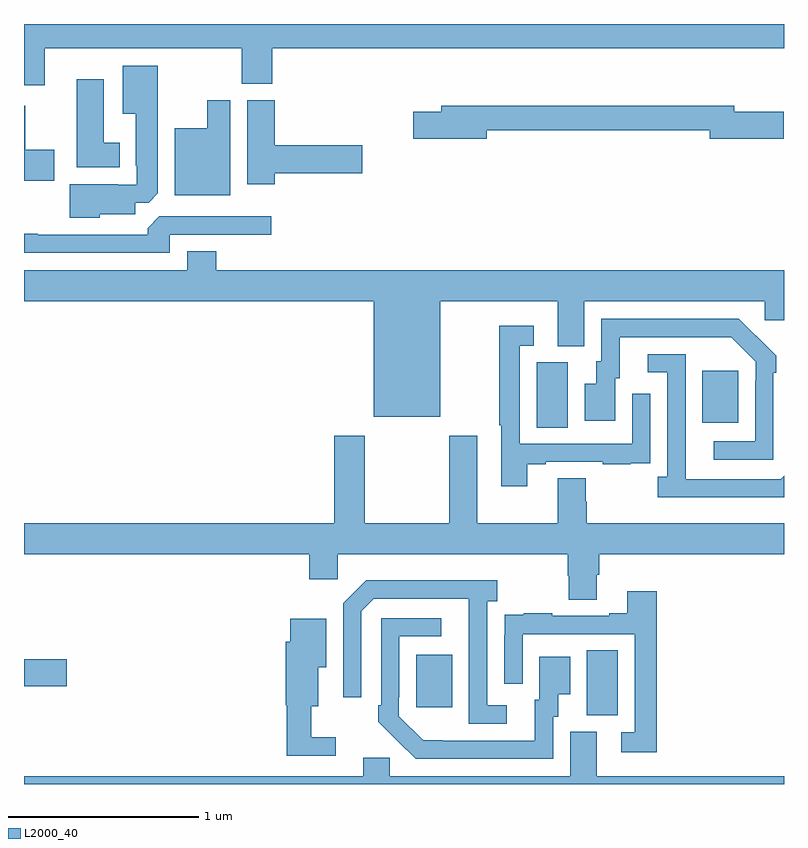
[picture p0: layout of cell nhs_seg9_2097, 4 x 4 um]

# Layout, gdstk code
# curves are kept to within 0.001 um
import gdstk
lib = gdstk.Library(unit=1e-6, precision=1e-09)
def R(c, l, rs):  # rectangles x0, y0, x1, y1
    for r in rs: c.add(gdstk.rectangle(r[:2], r[2:], *l))
def P(c, l, *ps):  # polygons
    for p in ps: c.add(gdstk.Polygon(p, *l))
L2000_40 = (2000, 40)

nhs_seg9_2097 = lib.new_cell('nhs_seg9_2097')
R(nhs_seg9_2097, L2000_40, [(231.962,1240.861,232.126,1241.204), (231.065,1240.905,231.253,1241.179), (229,1241.014,229.225,1241.156), (231.698,1242.376,231.862,1242.72), (232.571,1242.401,232.759,1242.676)])
P(nhs_seg9_2097, L2000_40, [(229.108,1244.372),(230.146,1244.372),(230.146,1244.185),(230.306,1244.185),(230.306,1244.372),(233,1244.372),(233,1244.5),(229,1244.5),(229,1244.178),(229.108,1244.178)],
  [(229.398,1243.499),(229.585,1243.499),(229.585,1243.56),(229.656,1243.56),(229.705,1243.609),(229.705,1244.281),(229.52,1244.281),(229.52,1244.027),(229.589,1244.027),(229.589,1243.753),(229.593,1243.753),(229.593,1243.653),(229.493,1243.653),(229.493,1243.657),(229.241,1243.657),(229.241,1243.481),(229.398,1243.481)],
  [(229.504,1243.876),(229.42,1243.876),(229.42,1244.209),(229.277,1244.209),(229.277,1243.745),(229.504,1243.745)],
  [(230.321,1243.715),(230.779,1243.715),(230.779,1243.862),(230.321,1243.862),(230.321,1244.1),(230.174,1244.1),(230.174,1243.656),(230.321,1243.656)],
  [(230.086,1244.098),(229.964,1244.098),(229.964,1243.951),(229.793,1243.951),(229.793,1243.598),(230.086,1243.598)],
  [(229.159,1243.839),(229.006,1243.839),(229.006,1244.071),(229,1244.071),(229,1243.676),(229.159,1243.676)],
  [(231.436,1243.942),(232.61,1243.942),(232.61,1243.895),(232.999,1243.895),(232.999,1244.037),(232.738,1244.037),(232.738,1244.071),(231.197,1244.071),(231.197,1244.037),(231.048,1244.037),(231.048,1243.895),(231.436,1243.895)],
  [(229.767,1243.392),(230.302,1243.392),(230.302,1243.488),(229.713,1243.488),(229.652,1243.426),(229.652,1243.392),(229.072,1243.392),(229.072,1243.397),(229,1243.397),(229,1243.296),(229.767,1243.296)],
  [(230.012,1243.303),(229.859,1243.303),(229.859,1243.204),(229,1243.204),(229,1243.04),(230.84,1243.04),(230.84,1242.434),(231.19,1242.434),(231.19,1243.04),(231.809,1243.04),(231.809,1242.805),(231.949,1242.805),(231.949,1243.04),(232.899,1243.04),(232.899,1242.942),(233,1242.942),(233,1243.204),(230.012,1243.204)],
  [(232.944,1242.665),(232.959,1242.665),(232.959,1242.753),(232.762,1242.948),(232.038,1242.948),(232.038,1242.726),(232.013,1242.726),(232.013,1242.607),(231.95,1242.607),(231.95,1242.411),(232.111,1242.411),(232.111,1242.636),(232.135,1242.636),(232.135,1242.852),(232.723,1242.852),(232.851,1242.723),(232.851,1242.623),(232.848,1242.623),(232.848,1242.303),(232.629,1242.303),(232.629,1242.207),(232.944,1242.207)],
  [(231.649,1242.183),(231.745,1242.183),(231.745,1242.195),(232.045,1242.195),(232.045,1242.183),(232.193,1242.183),(232.193,1242.189),(232.295,1242.189),(232.295,1242.298),(232.296,1242.298),(232.296,1242.553),(232.2,1242.553),(232.2,1242.291),(231.609,1242.291),(231.609,1242.807),(231.682,1242.807),(231.682,1242.913),(231.501,1242.913),(231.501,1242.388),(231.513,1242.388),(231.513,1242.066),(231.649,1242.066)],
  [(233,1242.122),(232.983,1242.105),(232.483,1242.105),(232.482,1242.762),(232.284,1242.762),(232.284,1242.666),(232.386,1242.666),(232.386,1242.118),(232.335,1242.118),(232.335,1242.008),(233,1242.008)],
  [(232.015,1241.602),(232.028,1241.602),(232.028,1241.708),(233,1241.708),(233,1241.872),(231.962,1241.872),(231.962,1241.985),(231.957,1241.985),(231.957,1242.11),(231.809,1242.11),(231.809,1241.872),(231.385,1241.872),(231.385,1242.334),(231.238,1242.334),(231.238,1241.872),(230.793,1241.872),(230.793,1242.334),(230.633,1242.334),(230.633,1241.872),(229,1241.872),(229,1241.708),(230.501,1241.708),(230.501,1241.577),(230.652,1241.577),(230.652,1241.708),(231.863,1241.708),(231.863,1241.595),(231.868,1241.595),(231.868,1241.47),(232.015,1241.47)],
  [(231.541,1240.914),(231.438,1240.914),(231.438,1241.462),(231.49,1241.462),(231.49,1241.572),(230.8,1241.572),(230.679,1241.451),(230.679,1240.956),(230.775,1240.956),(230.775,1241.409),(230.841,1241.475),(231.341,1241.475),(231.342,1240.818),(231.541,1240.818)],
  [(232.331,1241.515),(232.175,1241.515),(232.175,1241.398),(232.079,1241.398),(232.079,1241.385),(231.779,1241.385),(231.779,1241.398),(231.631,1241.398),(231.631,1241.391),(231.529,1241.391),(231.529,1241.282),(231.528,1241.282),(231.528,1241.028),(231.624,1241.028),(231.624,1241.289),(232.215,1241.289),(232.215,1240.773),(232.143,1240.773),(232.143,1240.668),(232.331,1240.668)],
  [(231.786,1240.854),(231.811,1240.854),(231.811,1240.973),(231.874,1240.973),(231.874,1241.17),(231.713,1241.17),(231.713,1240.944),(231.689,1240.944),(231.689,1240.728),(231.102,1240.729),(230.973,1240.857),(230.973,1240.957),(230.976,1240.957),(230.976,1241.277),(231.196,1241.277),(231.196,1241.373),(230.88,1241.373),(230.88,1240.915),(230.865,1240.915),(230.865,1240.827),(231.062,1240.632),(231.786,1240.632)],
  [(230.641,1240.747),(230.512,1240.747),(230.512,1240.91),(230.548,1240.91),(230.548,1241.114),(230.59,1241.114),(230.59,1241.371),(230.402,1241.371),(230.402,1241.25),(230.378,1241.25),(230.378,1240.914),(230.383,1240.914),(230.383,1240.65),(230.641,1240.65)],
  [(233,1240.54),(232.015,1240.54),(232.015,1240.776),(231.875,1240.776),(231.875,1240.54),(230.925,1240.54),(230.925,1240.638),(230.786,1240.638),(230.786,1240.54),(229,1240.54),(229,1240.5),(233,1240.5)])

lib.write_gds('nhs_seg9_2097.gds')
